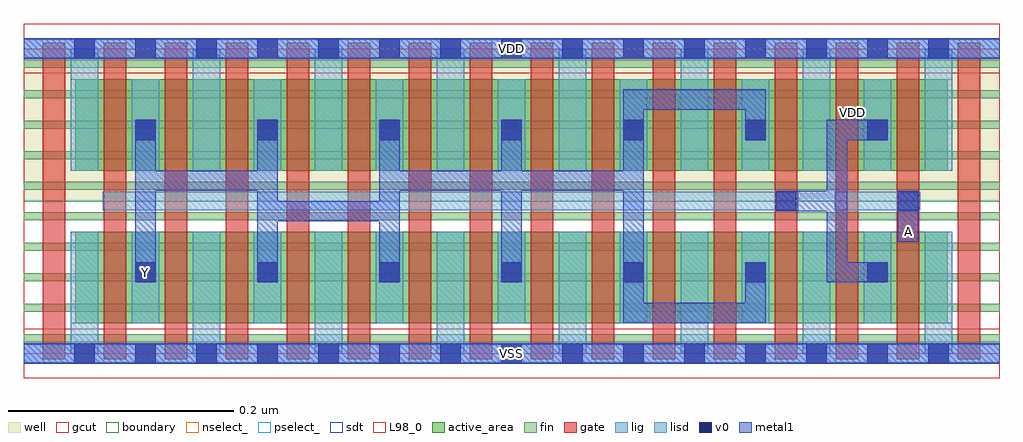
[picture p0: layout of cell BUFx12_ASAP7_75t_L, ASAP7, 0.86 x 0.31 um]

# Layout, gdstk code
import gdstk
lib = gdstk.Library(unit=1e-6, precision=2.5e-10)
def R(c, l, rs):  # rectangles x0, y0, x1, y1
    for r in rs: c.add(gdstk.rectangle(r[:2], r[2:], *l))
def A(c, l, x, y, w, h, nx, ny, dx, dy):  # array of equal rectangles
    R(c, l, [(x+i*dx, y+j*dy, x+i*dx+w, y+j*dy+h) for i in range(nx) for j in range(ny)])
def P(c, l, *ps):  # polygons
    for p in ps: c.add(gdstk.Polygon(p, *l))
well = (1, 0)
fin = (2, 0)
gate = (7, 0)
gcut = (10, 0)
active_area = (11, 0)
nselect_ = (12, 0)
pselect_ = (13, 0)
lig = (16, 0)
lisd = (17, 0)
v0 = (18, 0)
metal1 = (19, 0)
sdt = (88, 0)
L98_0 = (98, 0)
boundary = (100, 0)

bufx12_asap7_75t_l = lib.new_cell('BUFx12_ASAP7_75t_L')
R(bufx12_asap7_75t_l, well, [(0,0.135,0.864,0.27)])
A(bufx12_asap7_75t_l, fin, 0, 0.01, 0.864, 0.007, 1, 10, 0, 0.027)
A(bufx12_asap7_75t_l, gate, 0.017, -0.005, 0.02, 0.28, 16, 1, 0.054, 0)
R(bufx12_asap7_75t_l, gcut, [(0,-0.022,0.864,0.022), (0,0.248,0.864,0.292)])
R(bufx12_asap7_75t_l, active_area, [(0.046,0.027,0.818,0.108), (0.046,0.162,0.818,0.243)])
R(bufx12_asap7_75t_l, nselect_, [(0,0,0.864,0.135)])
R(bufx12_asap7_75t_l, pselect_, [(0,0.135,0.864,0.27)])
R(bufx12_asap7_75t_l, lig, [(0,-0.008,0.864,0.008), (0.07,0.127,0.686,0.143), (0.718,0.127,0.794,0.143), (0,0.262,0.864,0.278)])
A(bufx12_asap7_75t_l, lisd, 0.042, 0, 0.024, 0.108, 8, 2, 0.108, 0.162)
A(bufx12_asap7_75t_l, lisd, 0.096, 0.027, 0.024, 0.081, 7, 2, 0.108, 0.135)
A(bufx12_asap7_75t_l, v0, 0.045, -0.009, 0.018, 0.018, 15, 2, 0.054, 0.27)
A(bufx12_asap7_75t_l, v0, 0.099, 0.063, 0.018, 0.018, 7, 2, 0.108, 0.126)
R(bufx12_asap7_75t_l, v0, [(0.666,0.126,0.684,0.144), (0.774,0.126,0.792,0.144)])
R(bufx12_asap7_75t_l, metal1, [(0,-0.009,0.864,0.009), (0.774,0.099,0.792,0.144), (0,0.261,0.864,0.279)])
P(bufx12_asap7_75t_l, metal1, [(0.765,0.081),(0.729,0.081),(0.729,0.189),(0.765,0.189),(0.765,0.207),(0.711,0.207),(0.711,0.144),(0.666,0.144),(0.666,0.126),(0.711,0.126),(0.711,0.063),(0.765,0.063)],
  [(0.657,0.081),(0.639,0.081),(0.639,0.045),(0.549,0.045),(0.549,0.216),(0.639,0.216),(0.639,0.189),(0.657,0.189),(0.657,0.234),(0.531,0.234),(0.531,0.162),(0.441,0.162),(0.441,0.207),(0.423,0.207),(0.423,0.162),(0.333,0.162),(0.333,0.207),(0.315,0.207),(0.315,0.135),(0.225,0.135),(0.225,0.207),(0.207,0.207),(0.207,0.162),(0.117,0.162),(0.117,0.207),(0.099,0.207),(0.099,0.063),(0.117,0.063),(0.117,0.144),(0.207,0.144),(0.207,0.063),(0.225,0.063),(0.225,0.117),(0.315,0.117),(0.315,0.063),(0.333,0.063),(0.333,0.144),(0.423,0.144),(0.423,0.063),(0.441,0.063),(0.441,0.144),(0.531,0.144),(0.531,0.027),(0.657,0.027)])
A(bufx12_asap7_75t_l, sdt, 0.042, 0.027, 0.024, 0.081, 15, 2, 0.054, 0.135)
R(bufx12_asap7_75t_l, L98_0, [(0,0,0.864,0.27)])
R(bufx12_asap7_75t_l, boundary, [(0,0,0.864,0.27)])
bufx12_asap7_75t_l.add(gdstk.Label('Y', (0.108,0.072), layer=19, texttype=251))
bufx12_asap7_75t_l.add(gdstk.Label('A', (0.783,0.108), layer=19, texttype=251))
bufx12_asap7_75t_l.add(gdstk.Label('VSS', (0.432,0), layer=19, texttype=251))
bufx12_asap7_75t_l.add(gdstk.Label('VDD', (0.432,0.27), layer=19, texttype=251))
bufx12_asap7_75t_l.add(gdstk.Label('VDD', (0.734,0.213), layer=1, texttype=251))
bufx12_asap7_75t_l.add(gdstk.Label('VSS', (0.994,0.213), layer=3, texttype=251))

lib.write_gds('BUFx12_ASAP7_75t_L.gds')
